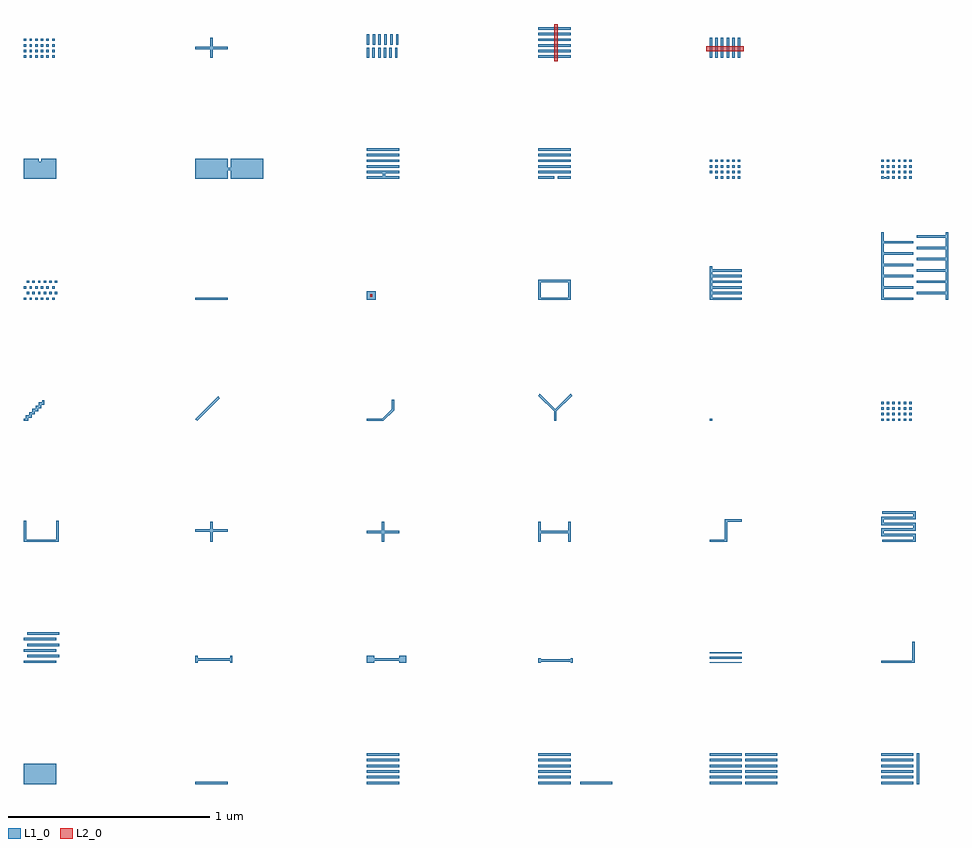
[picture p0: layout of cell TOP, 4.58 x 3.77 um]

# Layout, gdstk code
import gdstk
lib = gdstk.Library(unit=1e-6, precision=1e-10)
def R(c, l, rs):  # rectangles x0, y0, x1, y1
    for r in rs: c.add(gdstk.rectangle(r[:2], r[2:], *l))
def A(c, l, x, y, w, h, nx, ny, dx, dy):  # array of equal rectangles
    R(c, l, [(x+i*dx, y+j*dy, x+i*dx+w, y+j*dy+h) for i in range(nx) for j in range(ny)])
def P(c, l, *ps):  # polygons
    for p in ps: c.add(gdstk.Polygon(p, *l))
L1_0 = (1, 0)
L2_0 = (2, 0)

p00000 = lib.new_cell('P00000')
R(p00000, L1_0, [(0,0,0.16,0.1)])

p00001 = lib.new_cell('P00001')
R(p00001, L1_0, [(0.85,0,1.01,0.012)])

p00002 = lib.new_cell('P00002')
A(p00002, L1_0, 1.7, 0, 0.16, 0.012, 1, 6, 0, 0.028)

p00003 = lib.new_cell('P00003')
A(p00003, L1_0, 2.55, 0, 0.16, 0.012, 1, 6, 0, 0.028)
R(p00003, L1_0, [(2.758,0,2.918,0.012)])

p00004 = lib.new_cell('P00004')
A(p00004, L1_0, 3.4, 0, 0.16, 0.012, 1, 6, 0, 0.028)
A(p00004, L1_0, 3.576, 0, 0.16, 0.012, 1, 6, 0, 0.028)

p00005 = lib.new_cell('P00005')
A(p00005, L1_0, 4.25, 0, 0.16, 0.012, 1, 6, 0, 0.028)
R(p00005, L1_0, [(4.426,0,4.438,0.152)])

p00006 = lib.new_cell('P00006')
A(p00006, L1_0, 0, 0.6, 0.16, 0.012, 1, 3, 0, 0.056)
A(p00006, L1_0, 0.016, 0.628, 0.16, 0.012, 1, 3, 0, 0.056)

p00007 = lib.new_cell('P00007')
P(p00007, L1_0, [(0.85,0.636),(0.85,0.6),(0.862,0.6),(0.862,0.612),(1.022,0.612),(1.022,0.6),(1.034,0.6),(1.034,0.636),(1.022,0.636),(1.022,0.624),(0.862,0.624),(0.862,0.636)])

p00008 = lib.new_cell('P00008')
P(p00008, L1_0, [(1.736,0.612),(1.86,0.612),(1.86,0.6),(1.896,0.6),(1.896,0.636),(1.86,0.636),(1.86,0.624),(1.736,0.624),(1.736,0.636),(1.7,0.636),(1.7,0.6),(1.736,0.6)])

p00009 = lib.new_cell('P00009')
P(p00009, L1_0, [(2.71,0.624),(2.71,0.618),(2.562,0.618),(2.562,0.624),(2.55,0.624),(2.55,0.6),(2.562,0.6),(2.562,0.606),(2.71,0.606),(2.71,0.6),(2.722,0.6),(2.722,0.624)])

p00010 = lib.new_cell('P00010')
R(p00010, L1_0, [(3.4,0.6,3.56,0.604), (3.4,0.62,3.56,0.632), (3.4,0.648,3.56,0.652)])

p00011 = lib.new_cell('P00011')
P(p00011, L1_0, [(4.416,0.706),(4.404,0.706),(4.404,0.612),(4.25,0.612),(4.25,0.6),(4.416,0.6)])

p00012 = lib.new_cell('P00012')
P(p00012, L1_0, [(0.172,1.306),(0.16,1.306),(0.16,1.212),(0.012,1.212),(0.012,1.306),(0,1.306),(0,1.2),(0.172,1.2)])

p00013 = lib.new_cell('P00013')
P(p00013, L1_0, [(0.936,1.25),(1.01,1.25),(1.01,1.262),(0.936,1.262),(0.936,1.3),(0.924,1.3),(0.924,1.262),(0.85,1.262),(0.85,1.25),(0.924,1.25),(0.924,1.2),(0.936,1.2)])

p00014 = lib.new_cell('P00014')
P(p00014, L1_0, [(1.786,1.244),(1.86,1.244),(1.86,1.256),(1.786,1.256),(1.786,1.3),(1.774,1.3),(1.774,1.256),(1.7,1.256),(1.7,1.244),(1.774,1.244),(1.774,1.2),(1.786,1.2)])

p00015 = lib.new_cell('P00015')
P(p00015, L1_0, [(2.698,1.3),(2.698,1.256),(2.562,1.256),(2.562,1.3),(2.55,1.3),(2.55,1.2),(2.562,1.2),(2.562,1.244),(2.698,1.244),(2.698,1.2),(2.71,1.2),(2.71,1.3)])

p00016 = lib.new_cell('P00016')
P(p00016, L1_0, [(3.486,1.3),(3.56,1.3),(3.56,1.312),(3.474,1.312),(3.474,1.212),(3.4,1.212),(3.4,1.2),(3.486,1.2)])

p00017 = lib.new_cell('P00017')
P(p00017, L1_0, [(4.422,1.24),(4.262,1.24),(4.262,1.256),(4.422,1.256),(4.422,1.296),(4.262,1.296),(4.262,1.312),(4.422,1.312),(4.422,1.352),(4.256,1.352),(4.256,1.34),(4.41,1.34),(4.41,1.324),(4.25,1.324),(4.25,1.284),(4.41,1.284),(4.41,1.268),(4.25,1.268),(4.25,1.228),(4.41,1.228),(4.41,1.212),(4.256,1.212),(4.256,1.2),(4.422,1.2)])

p00018 = lib.new_cell('P00018')
P(p00018, L1_0, [(0.022,1.816),(0.038,1.816),(0.038,1.832),(0.054,1.832),(0.054,1.848),(0.07,1.848),(0.07,1.864),(0.086,1.864),(0.086,1.88),(0.102,1.88),(0.102,1.902),(0.09,1.902),(0.09,1.892),(0.074,1.892),(0.074,1.876),(0.058,1.876),(0.058,1.86),(0.042,1.86),(0.042,1.844),(0.026,1.844),(0.026,1.828),(0.01,1.828),(0.01,1.812),(0,1.812),(0,1.8),(0.022,1.8)])

p00019 = lib.new_cell('P00019')
P(p00019, L1_0, [(0.9716,1.9131),(0.9631,1.9216),(0.85,1.8084),(0.8584,1.8)])

p00020 = lib.new_cell('P00020')
P(p00020, L1_0, [(1.836,1.8535),(1.836,1.906),(1.824,1.906),(1.824,1.8585),(1.7775,1.812),(1.7,1.812),(1.7,1.8),(1.7825,1.8)])

p00021 = lib.new_cell('P00021')
P(p00021, L1_0, [(2.6402,1.8476),(2.7184,1.9258),(2.71,1.9342),(2.6342,1.8584),(2.5584,1.9342),(2.55,1.9258),(2.6282,1.8475),(2.6282,1.8),(2.6402,1.8)])

p00022 = lib.new_cell('P00022')
R(p00022, L1_0, [(3.4,1.8,3.412,1.812)])

p00023 = lib.new_cell('P00023')
A(p00023, L1_0, 4.25, 1.8, 0.012, 0.012, 6, 4, 0.028, 0.028)

p00024 = lib.new_cell('P00024')
A(p00024, L1_0, 0, 2.4, 0.012, 0.012, 6, 2, 0.028, 0.056)
A(p00024, L1_0, 0.014, 2.428, 0.012, 0.012, 6, 2, 0.028, 0.056)

p00025 = lib.new_cell('P00025')
R(p00025, L1_0, [(0.85,2.4,1.01,2.412)])

p00026 = lib.new_cell('P00026')
R(p00026, L1_0, [(1.7,2.4,1.744,2.444)])
R(p00026, L2_0, [(1.716,2.416,1.728,2.428)])

p00027 = lib.new_cell('P00027')
P(p00027, L1_0, [(2.71,2.5),(2.55,2.5),(2.55,2.412),(2.562,2.412),(2.562,2.488),(2.698,2.488),(2.698,2.412),(2.55,2.412),(2.55,2.4),(2.71,2.4)])

p00028 = lib.new_cell('P00028')
P(p00028, L1_0, [(3.56,2.412),(3.412,2.412),(3.412,2.428),(3.56,2.428),(3.56,2.44),(3.412,2.44),(3.412,2.456),(3.56,2.456),(3.56,2.468),(3.412,2.468),(3.412,2.484),(3.56,2.484),(3.56,2.496),(3.412,2.496),(3.412,2.512),(3.56,2.512),(3.56,2.524),(3.412,2.524),(3.412,2.54),(3.56,2.54),(3.56,2.552),(3.412,2.552),(3.412,2.568),(3.4,2.568),(3.4,2.4),(3.56,2.4)])

p00029 = lib.new_cell('P00029')
P(p00029, L1_0, [(4.582,2.736),(4.57,2.736),(4.57,2.72),(4.426,2.72),(4.426,2.708),(4.57,2.708),(4.57,2.664),(4.426,2.664),(4.426,2.652),(4.57,2.652),(4.57,2.608),(4.426,2.608),(4.426,2.596),(4.57,2.596),(4.57,2.552),(4.426,2.552),(4.426,2.54),(4.57,2.54),(4.57,2.496),(4.426,2.496),(4.426,2.484),(4.57,2.484),(4.57,2.44),(4.426,2.44),(4.426,2.428),(4.57,2.428),(4.57,2.4),(4.582,2.4)],
  [(4.41,2.412),(4.262,2.412),(4.262,2.456),(4.41,2.456),(4.41,2.468),(4.262,2.468),(4.262,2.512),(4.41,2.512),(4.41,2.524),(4.262,2.524),(4.262,2.568),(4.41,2.568),(4.41,2.58),(4.262,2.58),(4.262,2.624),(4.41,2.624),(4.41,2.636),(4.262,2.636),(4.262,2.68),(4.41,2.68),(4.41,2.692),(4.262,2.692),(4.262,2.736),(4.25,2.736),(4.25,2.4),(4.41,2.4)])

p00030 = lib.new_cell('P00030')
P(p00030, L1_0, [(0.16,3.1),(0.086,3.1),(0.086,3.084),(0.074,3.084),(0.074,3.1),(0,3.1),(0,3),(0.16,3)])

p00031 = lib.new_cell('P00031')
P(p00031, L1_0, [(0.85,3.1),(0.85,3),(1.01,3),(1.01,3.044),(1.026,3.044),(1.026,3),(1.186,3),(1.186,3.1),(1.026,3.1),(1.026,3.056),(1.01,3.056),(1.01,3.1)])

p00032 = lib.new_cell('P00032')
A(p00032, L1_0, 1.7, 3.056, 0.16, 0.012, 1, 4, 0, 0.028)
P(p00032, L1_0, [(1.7,3.012),(1.7,3),(1.86,3),(1.86,3.012),(1.792,3.012),(1.792,3.028),(1.86,3.028),(1.86,3.04),(1.7,3.04),(1.7,3.028),(1.78,3.028),(1.78,3.012)])

p00033 = lib.new_cell('P00033')
A(p00033, L1_0, 2.55, 3.028, 0.16, 0.012, 1, 5, 0, 0.028)
R(p00033, L1_0, [(2.55,3,2.63,3.012), (2.646,3,2.71,3.012)])

p00034 = lib.new_cell('P00034')
A(p00034, L1_0, 3.428, 3, 0.012, 0.012, 5, 1, 0.028, 0)
A(p00034, L1_0, 3.4, 3.028, 0.012, 0.012, 6, 3, 0.028, 0.028)

p00035 = lib.new_cell('P00035')
A(p00035, L1_0, 4.306, 3, 0.012, 0.012, 4, 1, 0.028, 0)
A(p00035, L1_0, 4.25, 3.028, 0.012, 0.012, 6, 3, 0.028, 0.028)
P(p00035, L1_0, [(4.25,3.012),(4.25,3),(4.262,3),(4.262,3.004),(4.278,3.004),(4.278,3),(4.29,3),(4.29,3.012),(4.278,3.012),(4.278,3.008),(4.262,3.008),(4.262,3.012)])

p00036 = lib.new_cell('P00036')
A(p00036, L1_0, 0, 3.6, 0.012, 0.012, 6, 4, 0.028, 0.028)

p00037 = lib.new_cell('P00037')
P(p00037, L1_0, [(0.936,3.644),(1.01,3.644),(1.01,3.656),(0.936,3.656),(0.936,3.7),(0.924,3.7),(0.924,3.656),(0.85,3.656),(0.85,3.644),(0.924,3.644),(0.924,3.6),(0.936,3.6)])

p00038 = lib.new_cell('P00038')
A(p00038, L1_0, 1.7, 3.6, 0.012, 0.05, 6, 1, 0.028, 0)
A(p00038, L1_0, 1.7, 3.666, 0.012, 0.05, 6, 1, 0.029, 0)

p00039 = lib.new_cell('P00039')
A(p00039, L1_0, 2.55, 3.6, 0.16, 0.012, 1, 6, 0, 0.028)
R(p00039, L2_0, [(2.63,3.584,2.646,3.768)])

p00040 = lib.new_cell('P00040')
A(p00040, L1_0, 3.4, 3.6, 0.012, 0.1, 6, 1, 0.028, 0)
R(p00040, L2_0, [(3.384,3.6333,3.568,3.6573)])

top = lib.new_cell('TOP')
top.add(gdstk.Reference(p00000, (0,0)))
top.add(gdstk.Reference(p00001, (0,0)))
top.add(gdstk.Reference(p00002, (0,0)))
top.add(gdstk.Reference(p00003, (0,0)))
top.add(gdstk.Reference(p00004, (0,0)))
top.add(gdstk.Reference(p00005, (0,0)))
top.add(gdstk.Reference(p00006, (0,0)))
top.add(gdstk.Reference(p00007, (0,0)))
top.add(gdstk.Reference(p00008, (0,0)))
top.add(gdstk.Reference(p00009, (0,0)))
top.add(gdstk.Reference(p00010, (0,0)))
top.add(gdstk.Reference(p00011, (0,0)))
top.add(gdstk.Reference(p00012, (0,0)))
top.add(gdstk.Reference(p00013, (0,0)))
top.add(gdstk.Reference(p00014, (0,0)))
top.add(gdstk.Reference(p00015, (0,0)))
top.add(gdstk.Reference(p00016, (0,0)))
top.add(gdstk.Reference(p00017, (0,0)))
top.add(gdstk.Reference(p00018, (0,0)))
top.add(gdstk.Reference(p00019, (0,0)))
top.add(gdstk.Reference(p00020, (0,0)))
top.add(gdstk.Reference(p00021, (0,0)))
top.add(gdstk.Reference(p00022, (0,0)))
top.add(gdstk.Reference(p00023, (0,0)))
top.add(gdstk.Reference(p00024, (0,0)))
top.add(gdstk.Reference(p00025, (0,0)))
top.add(gdstk.Reference(p00026, (0,0)))
top.add(gdstk.Reference(p00027, (0,0)))
top.add(gdstk.Reference(p00028, (0,0)))
top.add(gdstk.Reference(p00029, (0,0)))
top.add(gdstk.Reference(p00030, (0,0)))
top.add(gdstk.Reference(p00031, (0,0)))
top.add(gdstk.Reference(p00032, (0,0)))
top.add(gdstk.Reference(p00033, (0,0)))
top.add(gdstk.Reference(p00034, (0,0)))
top.add(gdstk.Reference(p00035, (0,0)))
top.add(gdstk.Reference(p00036, (0,0)))
top.add(gdstk.Reference(p00037, (0,0)))
top.add(gdstk.Reference(p00038, (0,0)))
top.add(gdstk.Reference(p00039, (0,0)))
top.add(gdstk.Reference(p00040, (0,0)))

lib.write_gds('TOP.gds')
